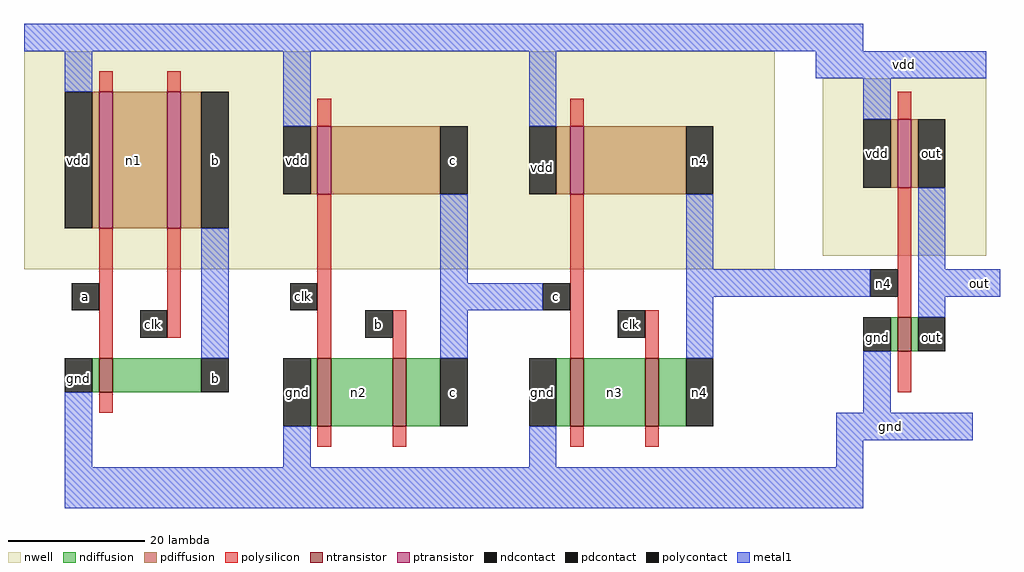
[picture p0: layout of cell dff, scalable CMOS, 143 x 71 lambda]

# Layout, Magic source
magic
tech scmos
<< nwell >>
rect -21 -12 89 20
rect 96 -10 120 16
<< ntransistor >>
rect 107 -24 109 -19
rect -10 -30 -8 -25
rect 22 -35 24 -25
rect 33 -35 35 -25
rect 59 -35 61 -25
rect 70 -35 72 -25
<< ptransistor >>
rect -10 -6 -8 14
rect 0 -6 2 14
rect 22 -1 24 9
rect 59 -1 61 9
rect 107 0 109 10
<< ndiffusion >>
rect 106 -24 107 -19
rect 109 -24 110 -19
rect -11 -30 -10 -25
rect -8 -30 5 -25
rect 21 -35 22 -25
rect 24 -35 33 -25
rect 35 -35 40 -25
rect 57 -35 59 -25
rect 61 -35 70 -25
rect 72 -35 76 -25
<< pdiffusion >>
rect -11 -6 -10 14
rect -8 -6 0 14
rect 2 -6 5 14
rect 21 -1 22 9
rect 24 -1 40 9
rect 57 -1 59 9
rect 61 -1 76 9
rect 106 0 107 10
rect 109 0 110 10
<< ndcontact >>
rect 102 -24 106 -19
rect 110 -24 114 -19
rect -15 -30 -11 -25
rect 5 -30 9 -25
rect 17 -35 21 -25
rect 40 -35 44 -25
rect 53 -35 57 -25
rect 76 -35 80 -25
<< pdcontact >>
rect -15 -6 -11 14
rect 5 -6 9 14
rect 17 -1 21 9
rect 40 -1 44 9
rect 53 -1 57 9
rect 76 -1 80 9
rect 102 0 106 10
rect 110 0 114 10
<< polysilicon >>
rect -10 14 -8 17
rect 0 14 2 17
rect 22 9 24 13
rect 59 9 61 13
rect 107 10 109 14
rect -10 -25 -8 -6
rect 0 -22 2 -6
rect 22 -25 24 -1
rect 33 -25 35 -18
rect 59 -25 61 -1
rect 70 -25 72 -18
rect 107 -19 109 0
rect -10 -33 -8 -30
rect 107 -30 109 -24
rect 22 -38 24 -35
rect 33 -38 35 -35
rect 59 -38 61 -35
rect 70 -38 72 -35
<< polycontact >>
rect -14 -18 -10 -14
rect -4 -22 0 -18
rect 18 -18 22 -14
rect 55 -18 59 -14
rect 29 -22 33 -18
rect 103 -16 107 -12
rect 66 -22 70 -18
<< metal1 >>
rect -21 20 102 24
rect -15 14 -11 20
rect 17 9 21 20
rect 53 9 57 20
rect 95 16 120 20
rect 102 10 106 16
rect 5 -25 9 -6
rect 40 -14 44 -1
rect 76 -12 80 -1
rect 110 -12 114 0
rect 40 -18 55 -14
rect 76 -16 103 -12
rect 110 -16 122 -12
rect 40 -25 44 -18
rect 76 -25 80 -16
rect 110 -19 114 -16
rect -15 -41 -11 -30
rect 102 -33 106 -24
rect 17 -41 21 -35
rect 53 -41 57 -35
rect 98 -37 118 -33
rect 98 -41 102 -37
rect -15 -47 102 -41
<< labels >>
rlabel pdiffusion -5 4 -5 4 1 n1
rlabel pdcontact -13 4 -13 4 1 vdd
rlabel polycontact -12 -16 -12 -16 1 a
rlabel pdcontact 7 4 7 4 1 b
rlabel polycontact -2 -20 -2 -20 1 clk
rlabel ndcontact -13 -28 -13 -28 1 gnd
rlabel ndcontact 7 -28 7 -28 1 b
rlabel pdcontact 19 4 19 4 1 vdd
rlabel polycontact 31 -20 31 -20 1 b
rlabel ndcontact 19 -30 19 -30 1 gnd
rlabel ndiffusion 28 -30 28 -30 1 n2
rlabel ndcontact 42 -30 42 -30 1 c
rlabel pdcontact 42 4 42 4 1 c
rlabel ndcontact 78 -30 78 -30 1 n4
rlabel ndiffusion 65 -30 66 -30 1 n3
rlabel ndcontact 55 -30 55 -30 1 gnd
rlabel polycontact 68 -20 68 -20 1 clk
rlabel polycontact 57 -16 57 -16 1 c
rlabel pdcontact 55 3 55 3 1 vdd
rlabel pdcontact 78 4 78 4 1 n4
rlabel polycontact 20 -16 20 -16 1 clk
rlabel metal1 108 18 108 18 5 vdd
rlabel pdcontact 112 5 112 5 1 out
rlabel metal1 119 -14 119 -14 8 out
rlabel pdcontact 104 5 104 5 1 vdd
rlabel ndcontact 104 -22 104 -22 1 gnd
rlabel ndcontact 112 -22 112 -22 1 out
rlabel metal1 106 -35 106 -35 1 gnd
rlabel polycontact 105 -14 105 -14 1 n4
<< end >>
